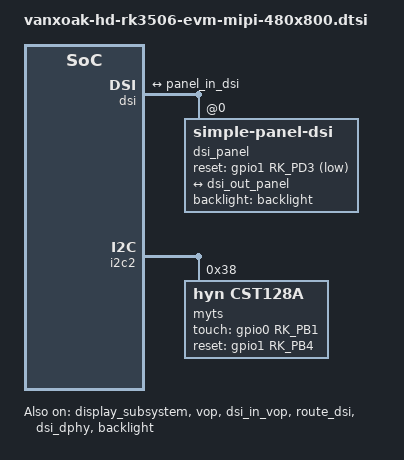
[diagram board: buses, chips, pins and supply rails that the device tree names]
#include <dt-bindings/display/drm_mipi_dsi.h>
#include <dt-bindings/input/rk-input.h>
#include <dt-bindings/suspend/rockchip-rk3506.h>

&dsi {
	status = "okay";
	rockchip,lane-rate = <1000>;
	dsi_panel: panel@0 {
		status = "okay";
		compatible = "simple-panel-dsi";
        reset-gpios = <&gpio1 RK_PD3 GPIO_ACTIVE_LOW>;
		reg = <0>;
		backlight = <&backlight>;
		reset-delay-ms = <30>;
		enable-delay-ms = <100>;
		prepare-delay-ms = <20>;
		unprepare-delay-ms = <20>;
		disable-delay-ms = <20>;
		init-delay-ms = <120>;
		dsi,flags = <(MIPI_DSI_MODE_VIDEO | MIPI_DSI_MODE_VIDEO_BURST |
			      MIPI_DSI_MODE_LPM | MIPI_DSI_MODE_NO_EOT_PACKET)>;
		dsi,format = <MIPI_DSI_FMT_RGB888>;
		dsi,lanes  = <2>;
		panel-init-sequence = [
			// init code
			05 78 01 01
			05 78 01 11
			39 00 06 FF 77 01 00 00 11
			15 00 02 D1 11
			15 00 02 55 B0 // 80 90 b0
			39 00 06 FF 77 01 00 00 10
			39 00 03 C0 63 00
			39 00 03 C1 09 02
			39 00 03 C2 37 08
			15 00 02 C7 00 // x-dir rotate 0:0x00,rotate 180:0x04
			15 00 02 CC 38
			39 00 11 B0 00 11 19 0C 10 06 07 0A 09 22 04 10 0E 28 30 1C
			39 00 11 B1 00 12 19 0D 10 04 06 07 08 23 04 12 11 28 30 1C
			39 00 06 FF 77 01 00 00 11 // enable  bk fun of  command 2  BK1
			15 00 02 B0 4D
			15 00 02 B1 60 // 0x56  0x4a  0x5b
			15 00 02 B2 07
			15 00 02 B3 80
			15 00 02 B5 47
			15 00 02 B7 8A
			15 00 02 B8 21
			15 00 02 C1 78
			15 00 02 C2 78
			15 64 02 D0 88
			39 00 04 E0 00 00 02
			39 00 0C E1 01 A0 03 A0 02 A0 04 A0 00 44 44
			39 00 0D E2 00 00 00 00 00 00 00 00 00 00 00 00
			39 00 05 E3 00 00 33 33
			39 00 03 E4 44 44
			39 00 11 E5 01 26 A0 A0 03 28 A0 A0 05 2A A0 A0 07 2C A0 A0
			39 00 05 E6 00 00 33 33
			39 00 03 E7 44 44
			39 00 11 E8 02 26 A0 A0 04 28 A0 A0 06 2A A0 A0 08 2C A0 A0
			39 00 08 EB 00 01 E4 E4 44 00 40
			39 00 11 ED FF F7 65 4F 0B A1 CF FF FF FC 1A B0 F4 56 7F FF
			39 00 06 FF 77 01 00 00 00
			15 00 02 36 00 //U&D  Y-DIR rotate 0:0x00,rotate 180:0x10
			15 00 02 3A 55
			05 78 01 11
			05 14 01 29
		];

		panel-exit-sequence = [
			05 00 01 28
			05 00 01 10
		];

		disp_timings0: display-timings {
			native-mode = <&dsi_timing0>;
			dsi_timing0: timing0 {
				clock-frequency = <27000000>;
				hactive = <480>;   	
				vactive = <800>;   	 
				hfront-porch = <32>;  
				hsync-len = <4>;   	 
				hback-porch = <32>;  
				vfront-porch = <9>;  
				vsync-len = <4>;     
				vback-porch = <3>;   
				hsync-active = <0>;
				vsync-active = <0>;
				de-active = <0>;
				pixelclk-active = <0>;
			};
		};

		ports {
			#address-cells = <1>;
			#size-cells = <0>;

			port@0 {
				reg = <0>;
				panel_in_dsi: endpoint {
					remote-endpoint = <&dsi_out_panel>;
					status = "okay";
				};
			};
		};
	};

	ports {
		#address-cells = <1>;
		#size-cells = <0>;

		port@1 {
			reg = <1>;
			dsi_out_panel: endpoint {
				remote-endpoint = <&panel_in_dsi>;
			};
		};
	};
};

&display_subsystem {
	status = "okay";
	logo-memory-region = <&drm_logo>;
};

&vop {
	status = "okay";
};

&dsi_in_vop {
	status = "okay";
};

&rgb_in_vop {
	status = "disabled";
};

&route_dsi {
	status = "okay";
	//logo,rotate = <3>;
};

&route_rgb {
	status = "disabled";
};

&dsi_dphy {
	status = "okay";
};

&backlight {
	compatible = "pwm-backlight";
	pwms = <&pwm0_4ch_2 0 25000 0>;
	status = "okay";
};

// TOUCH
&i2c2 {
	status = "okay";
	 pinctrl-0 = <&rm_io4_i2c2_scl &rm_io5_i2c2_sda>;

	myts@38 {
		status = "okay";
		compatible = "hyn,cst128a";
		reg = <0x38>;
		tp-size = <89>;
		max-x = <480>;
		max-y = <800>;
		touch-gpio = <&gpio0 RK_PB1 IRQ_TYPE_LEVEL_LOW>;
		reset-gpio = <&gpio1 RK_PB4 GPIO_ACTIVE_HIGH>;
	};
};

&pinctrl {
	myts{
		touch_gpio: touch-gpio {
			rockchip,pins = <0 RK_PB1 RK_FUNC_GPIO &pcfg_pull_up>;
		};
	};
};
